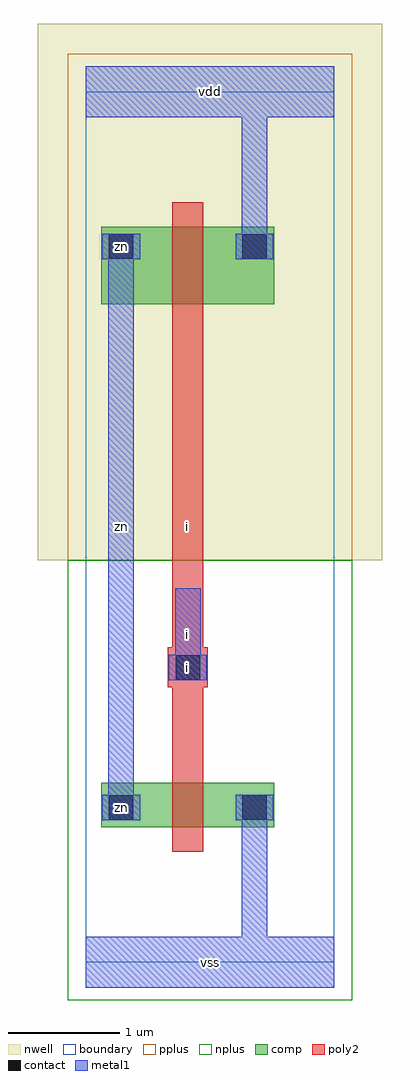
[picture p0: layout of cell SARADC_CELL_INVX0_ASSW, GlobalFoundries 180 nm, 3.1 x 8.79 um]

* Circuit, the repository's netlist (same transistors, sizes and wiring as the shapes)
* SARADC_CELL_INVX0_ASSW (INVD0 of gf180mcuf), cells/tools/build_cells.py
.SUBCKT SARADC_CELL_INVX0_ASSW i vdd vss zn vnw vpw
MU1_M_u2 zn i vss vpw nfet_03v3 l=2.800e-07 w=4.000e-07
MU1_M_u3 zn i vdd vnw pfet_03v3 l=2.800e-07 w=7.000e-07
.ENDS

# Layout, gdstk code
import gdstk
lib = gdstk.Library(unit=1e-6, precision=1e-09)
def R(c, l, rs):  # rectangles x0, y0, x1, y1
    for r in rs: c.add(gdstk.rectangle(r[:2], r[2:], *l))
boundary = (0, 0)
nwell = (21, 0)
comp = (22, 0)
poly2 = (30, 0)
pplus = (31, 0)
nplus = (32, 0)
contact = (33, 0)
metal1 = (34, 0)

saradc_cell_invx0_assw = lib.new_cell('SARADC_CELL_INVX0_ASSW')
R(saradc_cell_invx0_assw, boundary, [(0,0,2.24,7.84)])
R(saradc_cell_invx0_assw, nwell, [(-0.43,3.62,2.67,8.45)])
R(saradc_cell_invx0_assw, comp, [(0.14,1.215,1.7,1.615), (0.14,1.215,0.5,1.575), (1.34,1.215,1.7,1.575), (0.14,5.925,1.7,6.625), (0.14,6.265,0.5,6.625), (1.34,6.265,1.7,6.625)])
R(saradc_cell_invx0_assw, poly2, [(0.78,0.995,1.06,1.835), (0.78,1.255,1.06,6.585), (0.74,2.475,1.1,2.835), (0.78,5.705,1.06,6.845)])
R(saradc_cell_invx0_assw, pplus, [(-0.16,3.62,2.4,7.5), (-0.16,7.5,2.4,8.18)])
R(saradc_cell_invx0_assw, nplus, [(-0.16,-0.34,2.4,0.34), (-0.16,0.34,2.4,3.62)])
R(saradc_cell_invx0_assw, contact, [(0.21,1.285,0.43,1.505), (1.41,1.285,1.63,1.505), (0.81,2.545,1.03,2.765), (0.21,6.335,0.43,6.555), (1.41,6.335,1.63,6.555)])
R(saradc_cell_invx0_assw, metal1, [(0,-0.23,2.24,0.23), (1.405,0.065,1.635,1.51), (0.15,1.28,0.49,1.51), (0.205,1.28,0.435,6.56), (1.35,1.28,1.69,1.51), (0.75,2.54,1.09,2.77), (0.805,2.54,1.035,3.37), (0.15,6.33,0.49,6.56), (1.35,6.33,1.69,6.56), (1.405,6.33,1.635,7.775), (0,7.61,2.24,8.07)])
saradc_cell_invx0_assw.add(gdstk.FlexPath([(0.14,0.575),(1.7,0.575)], 0, ends="flush", simple_path=True, layer=0, datatype=0))  # boundary
saradc_cell_invx0_assw.add(gdstk.FlexPath([(0.14,1.395),(1.7,1.395)], 0, ends="flush", simple_path=True, layer=0, datatype=0))  # boundary
saradc_cell_invx0_assw.add(gdstk.FlexPath([(0.14,2.655),(1.7,2.655)], 0, ends="flush", simple_path=True, layer=0, datatype=0))  # boundary
saradc_cell_invx0_assw.add(gdstk.FlexPath([(0.14,3.255),(1.7,3.255)], 0, ends="flush", simple_path=True, layer=0, datatype=0))  # boundary
saradc_cell_invx0_assw.add(gdstk.FlexPath([(0.14,3.855),(1.7,3.855)], 0, ends="flush", simple_path=True, layer=0, datatype=0))  # boundary
saradc_cell_invx0_assw.add(gdstk.FlexPath([(0.14,4.455),(1.7,4.455)], 0, ends="flush", simple_path=True, layer=0, datatype=0))  # boundary
saradc_cell_invx0_assw.add(gdstk.FlexPath([(0.14,5.405),(1.7,5.405)], 0, ends="flush", simple_path=True, layer=0, datatype=0))  # boundary
saradc_cell_invx0_assw.add(gdstk.FlexPath([(0.14,6.445),(1.7,6.445)], 0, ends="flush", simple_path=True, layer=0, datatype=0))  # boundary
saradc_cell_invx0_assw.add(gdstk.FlexPath([(0.14,7.265),(1.7,7.265)], 0, ends="flush", simple_path=True, layer=0, datatype=0))  # boundary
saradc_cell_invx0_assw.add(gdstk.FlexPath([(0.32,0.065),(0.32,7.775)], 0, ends="flush", simple_path=True, layer=0, datatype=0))  # boundary
saradc_cell_invx0_assw.add(gdstk.FlexPath([(0.92,0.065),(0.92,7.775)], 0, ends="flush", simple_path=True, layer=0, datatype=0))  # boundary
saradc_cell_invx0_assw.add(gdstk.FlexPath([(1.52,0.065),(1.52,7.775)], 0, ends="flush", simple_path=True, layer=0, datatype=0))  # boundary
saradc_cell_invx0_assw.add(gdstk.Label('zn', (0.32,1.395), layer=22, texttype=0))
saradc_cell_invx0_assw.add(gdstk.Label('zn', (0.32,6.445), layer=22, texttype=0))
saradc_cell_invx0_assw.add(gdstk.Label('i', (0.92,3.92), layer=30, texttype=0))
saradc_cell_invx0_assw.add(gdstk.Label('i', (0.92,2.655), layer=30, texttype=0))
saradc_cell_invx0_assw.add(gdstk.Label('zn', (0.32,1.395), layer=33, texttype=0))
saradc_cell_invx0_assw.add(gdstk.Label('zn', (0.32,6.445), layer=33, texttype=0))
saradc_cell_invx0_assw.add(gdstk.Label('i', (0.92,2.655), layer=33, texttype=0))
saradc_cell_invx0_assw.add(gdstk.Label('zn', (0.32,1.395), layer=34, texttype=10))
saradc_cell_invx0_assw.add(gdstk.Label('zn', (0.32,6.445), layer=34, texttype=10))
saradc_cell_invx0_assw.add(gdstk.Label('zn', (0.32,3.92), layer=34, texttype=10))
saradc_cell_invx0_assw.add(gdstk.Label('i', (0.92,2.655), layer=34, texttype=10))
saradc_cell_invx0_assw.add(gdstk.Label('i', (0.92,2.955), layer=34, texttype=10))
saradc_cell_invx0_assw.add(gdstk.Label('vss', (1.12,0), layer=34, texttype=10))
saradc_cell_invx0_assw.add(gdstk.Label('vdd', (1.12,7.84), layer=34, texttype=10))

lib.write_gds('SARADC_CELL_INVX0_ASSW.gds')
